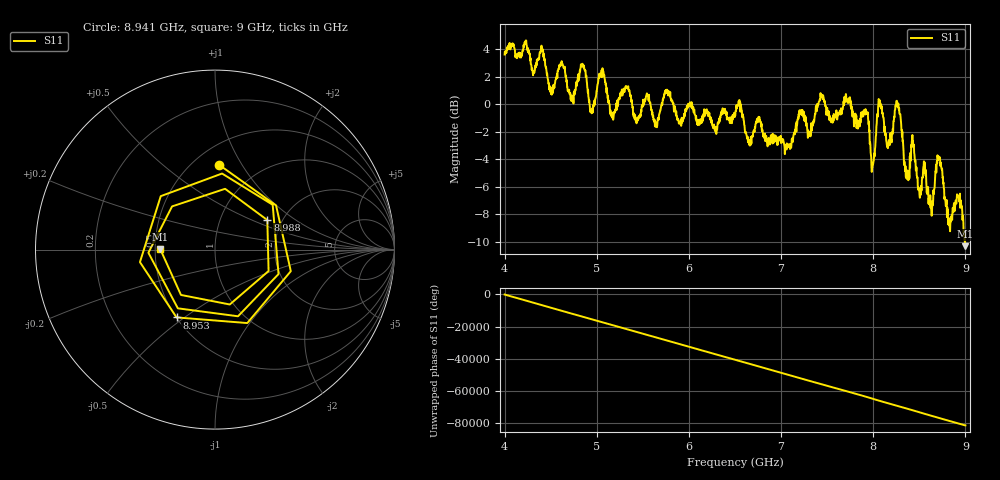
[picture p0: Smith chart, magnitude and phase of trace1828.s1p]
! Created with skrf 1.8.0 (http://scikit-rf.org).
# Hz S RI R 50.0
!freq ReS11 ImS11
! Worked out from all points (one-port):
!   1601 points, 4 GHz to 9 GHz, reference 50 ohm
!   lowest |S11| = -10.3 dB at 9 GHz (marker M1), VSWR 1.88, Z = 26.6 + j0.114 ohm
!   |S11| at or under -10 dB: 8.995719 GHz to end of sweep
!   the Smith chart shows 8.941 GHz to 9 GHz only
!   S11 on the Smith chart (normalised r, x): 8.941 GHz: 0.66, +0.80; 8.953 GHz: 0.50, -0.47; 8.988 GHz: 1.68, +0.62; 9 GHz: 0.53, +0.00
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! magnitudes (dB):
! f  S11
! 4 GHz  3.6
! 4.403 GHz  3.9
! 4.509 GHz  0.9
! 4.625 GHz  3.0
! 4.728 GHz  0.6
! 4.853 GHz  2.8
! 4.941 GHz  -0.4
! 5.053 GHz  2.5
! 5.169 GHz  -0.6
! 5.25 GHz  0.5
! 5.875 GHz  -1.0
! 6.5 GHz  -0.8
! 7.125 GHz  -2.5
! 7.75 GHz  0.3
! 7.922 GHz  -0.5
! 7.997 GHz  -4.4
! 8.066 GHz  0.2
! 8.166 GHz  -3.0
! 8.266 GHz  -0.1
! 8.375 GHz  -5.1
! 8.428 GHz  -3.0
! 8.625 GHz  -7.2
! 8.712 GHz  -3.8
! 8.825 GHz  -8.3
! 8.941 GHz  -6.5
! 8.953 GHz  -7.2
! 8.988 GHz  -9.5
! 9 GHz  -10.3
